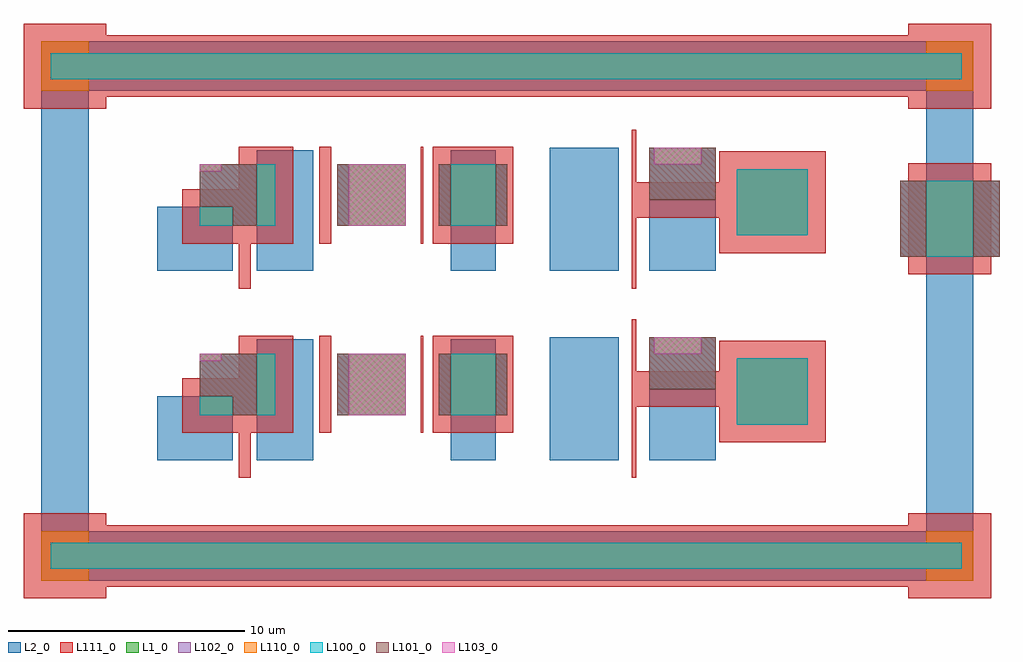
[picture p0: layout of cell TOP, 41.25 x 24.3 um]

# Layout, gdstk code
import gdstk
lib = gdstk.Library(unit=1e-6, precision=1e-09)
def R(c, l, rs):  # rectangles x0, y0, x1, y1
    for r in rs: c.add(gdstk.rectangle(r[:2], r[2:], *l))
def P(c, l, *ps):  # polygons
    for p in ps: c.add(gdstk.Polygon(p, *l))
L1_0 = (1, 0)
L2_0 = (2, 0)
L100_0 = (100, 0)
L101_0 = (101, 0)
L102_0 = (102, 0)
L103_0 = (103, 0)
L110_0 = (110, 0)
L111_0 = (111, 0)

child1 = lib.new_cell('CHILD1')
R(child1, L1_0, [(22.7,0,25.7,2.8), (0,0.4,3.2,3), (5.8,0.4,8.7,3), (10.1,0.4,13,3), (19,1.5,21.8,3.7)])
R(child1, L100_0, [(22.7,0,25.7,2.8), (0,0.4,1.4,1.2), (2.4,0.4,3.2,3), (10.6,0.4,12.5,3)])
R(child1, L101_0, [(5.8,0.4,8.7,3), (10.1,0.4,10.6,3), (12.5,0.4,13,3), (19,1.5,21.8,3.7)])
P(child1, L101_0, [(1.4,0.4),(1.4,1.2),(0,1.2),(0,3),(2.4,3),(2.4,0.4)])
R(child1, L102_0, [(22.7,0,25.7,2.8), (5.8,0.4,6.3,3), (10.1,0.4,13,3)])
P(child1, L102_0, [(19,1.5),(19,3.7),(19.2,3.7),(19.2,3),(21.2,3),(21.2,3.7),(21.8,3.7),(21.8,1.5)],
  [(0,0.4),(0,2.7),(0.9,2.7),(0.9,3),(3.2,3),(3.2,0.4)])
R(child1, L103_0, [(6.3,0.4,8.7,3), (0,2.7,0.9,3), (19.2,3,21.2,3.7)])
R(child1, L110_0, [(22.7,0,25.7,2.8), (0,0.4,1.4,1.2), (2.4,0.4,3.2,3), (10.6,0.4,12.5,3)])
R(child1, L111_0, [(5.05,-0.35,5.55,3.75), (9.35,-0.35,9.45,3.75), (9.85,-0.35,13.25,3.75)])
P(child1, L111_0, [(18.25,-2.25),(18.25,4.45),(18.45,4.45),(18.45,2.25),(21.95,2.25),(21.95,3.55),(26.45,3.55),(26.45,-0.75),(21.95,-0.75),(21.95,0.75),(18.45,0.75),(18.45,-2.25)],
  [(1.65,-2.25),(1.65,-0.35),(-0.75,-0.35),(-0.75,1.95),(1.65,1.95),(1.65,3.75),(3.95,3.75),(3.95,-0.35),(2.15,-0.35),(2.15,-2.25)])

ring = lib.new_cell('RING')
R(ring, L1_0, [(0.4,0.5,38.9,1.6), (0.4,21.2,38.9,22.3)])
R(ring, L2_0, [(0,0,2,22.8), (0,0,39.4,2.1), (37.4,0,39.4,22.8), (0,20.7,39.4,22.8)])
R(ring, L100_0, [(0.4,0.5,38.9,1.6), (0.4,21.2,38.9,22.3)])
R(ring, L102_0, [(0.4,0.5,38.9,1.6), (0.4,21.2,38.9,22.3)])
R(ring, L110_0, [(37.4,13.7,39.4,16.9)])
P(ring, L110_0, [(0,0),(0,2.1),(2,2.1),(2,1.6),(37.4,1.6),(37.4,2.1),(39.4,2.1),(39.4,0),(37.4,0),(37.4,0.5),(2,0.5),(2,0)],
  [(0,20.7),(0,22.8),(2,22.8),(2,22.3),(37.4,22.3),(37.4,22.8),(39.4,22.8),(39.4,20.7),(37.4,20.7),(37.4,21.2),(2,21.2),(2,20.7)])
R(ring, L111_0, [(36.65,12.95,40.15,17.65)])
P(ring, L111_0, [(-0.75,-0.75),(-0.75,2.85),(2.75,2.85),(2.75,2.35),(36.65,2.35),(36.65,2.85),(40.15,2.85),(40.15,-0.75),(36.65,-0.75),(36.65,-0.25),(2.75,-0.25),(2.75,-0.75)],
  [(-0.75,19.95),(-0.75,23.55),(2.75,23.55),(2.75,23.05),(36.65,23.05),(36.65,23.55),(40.15,23.55),(40.15,19.95),(36.65,19.95),(36.65,20.45),(2.75,20.45),(2.75,19.95)])

top = lib.new_cell('TOP')
R(top, L1_0, [(31.4,8.6,35.6,11.8)])
R(top, L2_0, [(0,0,3.2,2.7), (4.2,0,6.6,5.1), (12.4,0,14.3,5.1), (16.6,0,19.5,5.2), (20.8,0,23.6,3), (24.5,1.5,27.5,4.3), (0,8,3.2,10.7), (4.2,8,6.6,13.1), (12.4,8,14.3,13.1), (16.6,8,19.5,13.2), (20.8,8,23.6,11), (24.5,9.5,27.5,12.3)])
R(top, L100_0, [(32.5,8.6,34.5,11.8)])
R(top, L101_0, [(31.4,8.6,32.5,11.8), (34.5,8.6,35.6,11.8)])
R(top, L102_0, [(31.4,8.6,35.6,11.8)])
R(top, L111_0, [(3.45,-0.75,3.95,3.45), (20.05,-0.75,20.25,3.75), (23.75,0.75,24.35,3.75), (3.45,7.25,3.95,11.45), (20.05,7.25,20.25,11.75), (23.75,8.75,24.35,11.75)])
top.add(gdstk.Reference(child1, (1.8,1.5)))
top.add(gdstk.Reference(child1, (1.8,9.5)))
top.add(gdstk.Reference(ring, (-4.9,-5.1)))

lib.write_gds('TOP.gds')
